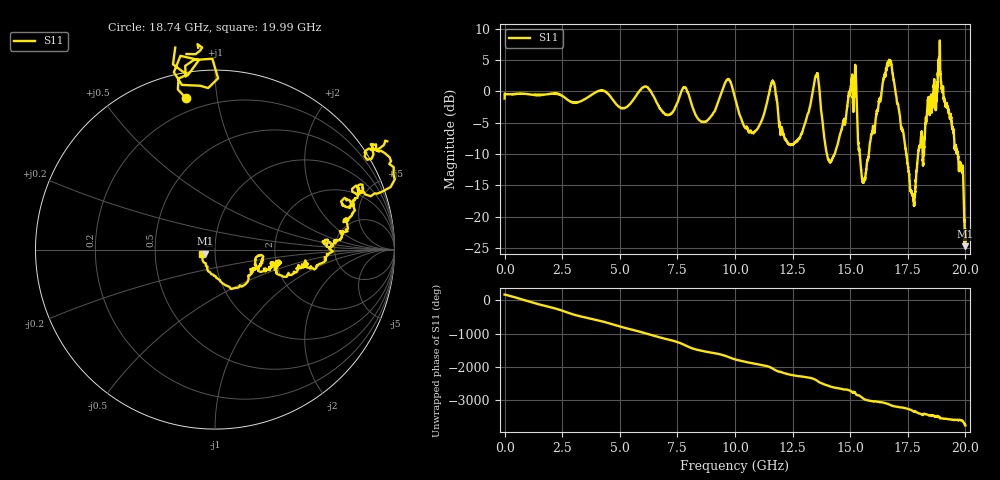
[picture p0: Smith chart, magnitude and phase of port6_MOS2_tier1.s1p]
! Created with skrf 1.8.0 (http://scikit-rf.org).
# GHz S RI R 50.0
!freq ReS11 ImS11
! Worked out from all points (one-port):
!   10001 points, 1 MHz to 20 GHz, reference 50 ohm
!   lowest |S11| = -24.7 dB at 19.98 GHz (marker M1), VSWR 1.12, Z = 44.9 - j2.12 ohm
!   |S11| at or under -10 dB: 13.99 GHz to 14.32 GHz (332.9 MHz wide, 2.35 % of centre); 15.41 GHz to 15.81 GHz (396 MHz wide, 2.54 % of centre); 17.44 GHz to 17.94 GHz (504.9 MHz wide, 2.85 % of centre) (the widest 3 of 10)
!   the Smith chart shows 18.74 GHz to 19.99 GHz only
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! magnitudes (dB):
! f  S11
! 1 MHz  -1.1
! 2.501 GHz  -0.7
! 5.001 GHz  -2.6
! 6.097 GHz  0.8
! 7.007 GHz  -3.7
! 7.501 GHz  -1.8
! 7.831 GHz  0.6
! 8.671 GHz  -4.9
! 9.661 GHz  1.9
! 10 GHz  -1.0
! 10.8 GHz  -6.7
! 11.65 GHz  1.7
! 12.01 GHz  -5.8
! 12.5 GHz  -8.5
! 13.54 GHz  2.6
! 13.95 GHz  -9.4
! 14.18 GHz  -11.1
! 15 GHz  0.2
! 15.19 GHz  0.5
! 15.59 GHz  -14.5
! 16.71 GHz  4.9
! 17.5 GHz  -11.8
! 17.76 GHz  -17.4
! 18.02 GHz  -8.6
! 18.88 GHz  4.9
! 19.83 GHz  -12.3
! 19.98 GHz  -24.7
! 20 GHz  -22.1
